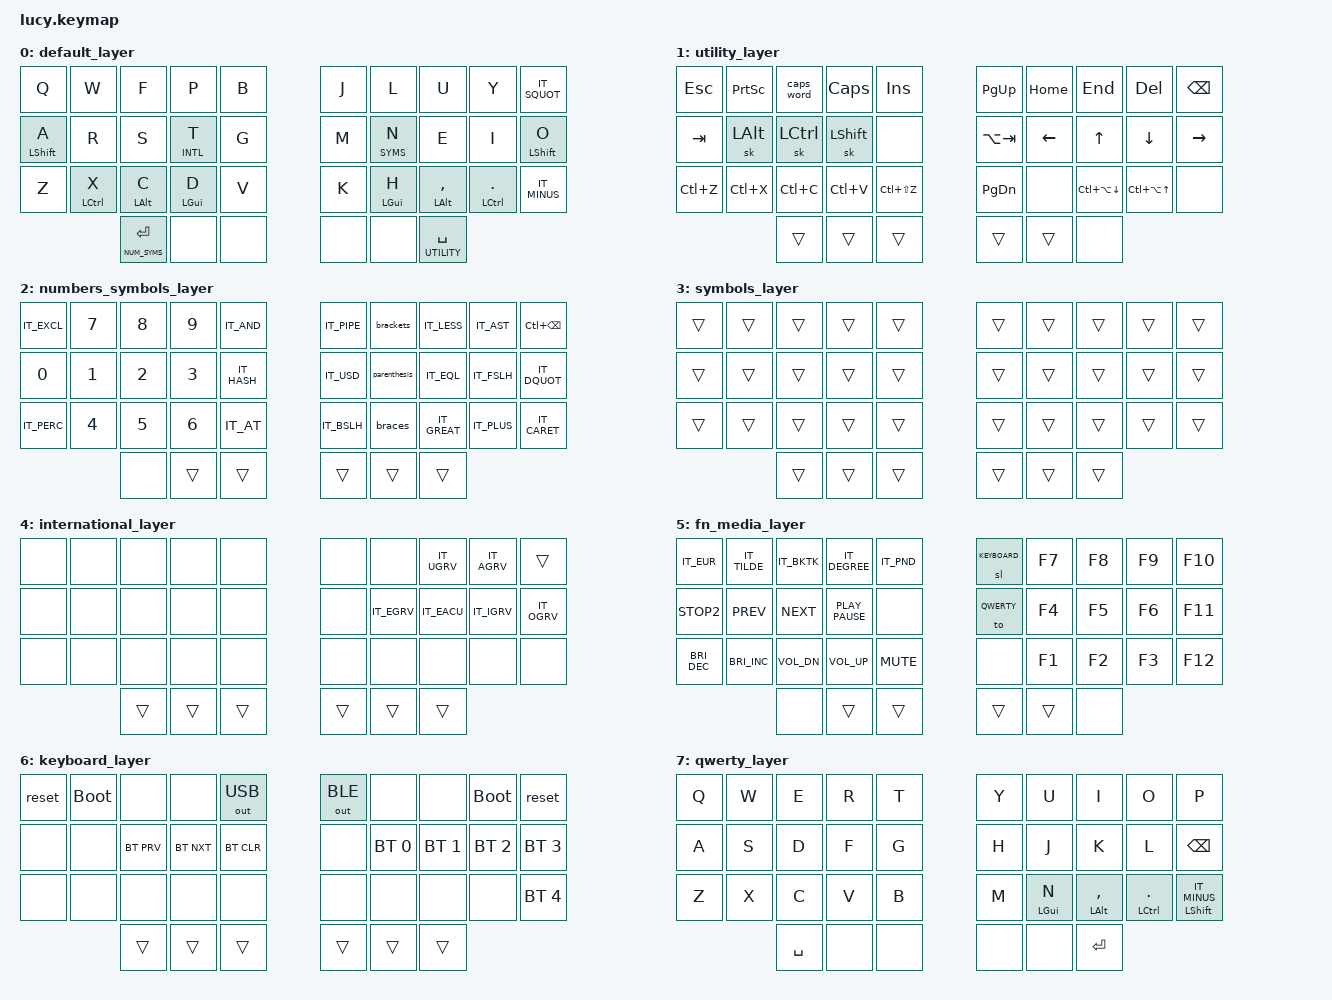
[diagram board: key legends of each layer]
/*
 * Copyright (c) 2020 The ZMK Contributors
 *
 * SPDX-License-Identifier: MIT
 */

#include "./boards/shields/lucy/italian.keycodes"

#include <behaviors.dtsi>
#include <dt-bindings/zmk/keys.h>
#include <dt-bindings/zmk/outputs.h>
#include <dt-bindings/zmk/bt.h>

#define DEFAULT                 0

#define UTILITY                 1

#define NUM_SYMS                2

#define SYMS                    3

#define INTL                    4

#define FN_MEDIA                5

#define KEYBOARD                6

#define QWERTY                  7

&mt {
    //tapping-term-ms = <300>;
    //quick_tap_ms = <0>;
    //flavor = "tap-preferred";
    //retro-tap;
};

// configure the sticky layer behavior
&sl {
    release-after-ms = <3000>;
};


/ {

    macros {

        // PARENTHESIS
        parenthesis: parenthesis {
            label = "parenthesis";
            compatible = "zmk,behavior-macro";
            #binding-cells = <0>;
            wait-ms = <15>;
            tap-ms = <20>;
            bindings
                   = <
                   &kp IT_LPAR &kp IT_RPAR
                   >
                   ;
        };

        brackets: brackets {
            label = "brackets";
            compatible = "zmk,behavior-macro";
            #binding-cells = <0>;
            wait-ms = <15>;
            tap-ms = <20>;
            bindings
                   = <
                   &kp IT_LBKT &kp IT_RBKT
                   >
                   ;
        };

        braces: braces {
            label = "braces";
            compatible = "zmk,behavior-macro";
            #binding-cells = <0>;
            wait-ms = <15>;
            tap-ms = <20>;
            bindings
                   = <
                   &kp IT_LBRC &kp IT_RBRC
                   >
                   ;
        };
    };

    combos {
        compatible = "zmk,combos";

// ------------
// LAYERS COMBOS

        // Activate the KEYBOARD layer for only one key press
/*        combo_goto_keyboard {
            timeout-ms = <75>;
            layers= <FN_MEDIA>;
            key-positions = <0 9>;
            bindings = <&sl KEYBOARD>;
        };
*/
        // Get back to default layer by pressing both thumb keys
        combo_escape_qwerty {
            timeout-ms = <50>;
            layers= <QWERTY>;
            key-positions = <30 35>;
            bindings = <&to DEFAULT>;
        };

        combo_emergency_back_to_default {
            timeout-ms = <50>;
            key-positions = <10 19 20 29>;
            bindings = <&to DEFAULT>;
        };

//--------------
// MAIN COMBOS

        combo_backspace {
            timeout-ms = <50>;
            key-positions = <8 9>;
            bindings = <&kp BKSP>;
            layers = <DEFAULT NUM_SYMS>;
        };

        combo_esc {
            timeout-ms = <100>;
            key-positions = <0 1>;
            bindings = <&kp ESC>;
            layers = <DEFAULT>;
        };

// ------------
// EXPERIMENTAL COMBOS
/*
        combo_parentheses {
            timeout-ms = <25>;
            key-positions = <16 17>;
            bindings = <&parenthesis>;
            layers = <NUM_SYMS>;
        };
*/

   };

    conditional_layers {
        compatible = "zmk,conditional-layers";
        tri_layer {
            if-layers = <UTILITY NUM_SYMS>;
            then-layer = <FN_MEDIA>;
        };
    };

    behaviors {

        lt_left: layer_toggle_left {
            compatible = "zmk,behavior-hold-tap";
            label = "LAYER_TOGGLE_LEFT";
            #binding-cells = <2>;
            tapping-term-ms = <175>;
            quick_tap_ms = <80>;
            flavor = "tap-preferred";
            bindings = <&mo>, <&kp>;
            hold-trigger-key-positions = <5 6 7 8 9 15 16 17 18 19 25 26 27 28 29>;    // <---[[right-hand keys]]
        };

        lt_right: layer_toggle_right {
            compatible = "zmk,behavior-hold-tap";
            label = "LAYER_TOGGLE_RIGHT";
            #binding-cells = <2>;
            tapping-term-ms = <175>;
            quick_tap_ms = <80>;
            flavor = "tap-preferred";
            bindings = <&mo>, <&kp>;
            hold-trigger-key-positions = <0 1 2 3 4 10 11 12 13 14 20 21 22 23 24>;    // <---[[left-hand keys]]

        };

        // Behaviors for mods in the bottom row
        m_left: mods_left {
            compatible = "zmk,behavior-hold-tap";
            label = "MODS_LEFT";
            #binding-cells = <2>;
            //flavor = "tap-unless-interrupted";
            flavor = "tap-preferred";
            tapping-term-ms = <175>;
            quick-tap-ms = <80>;        // 125
            bindings = <&kp>, <&kp>;
            hold-trigger-key-positions = <5 6 7 8 9 15 16 17 18 19 25 26 27 28 29>;    // <---[[right-hand keys]]
        };

        m_right: mods_right {
            compatible = "zmk,behavior-hold-tap";
            label = "MODS_RIGHT";
            #binding-cells = <2>;
            //flavor = "tap-unless-interrupted";
            flavor = "tap-preferred";
            tapping-term-ms = <175>;
            quick-tap-ms = <80>;        // 125
            bindings = <&kp>, <&kp>;
            hold-trigger-key-positions = <0 1 2 3 4 10 11 12 13 14 20 21 22 23 24>;    // <---[[left-hand keys]]
       };

    // Layer on left thumb is for quick access to symbols used while typing so I need a shorter window for triggering
    // the hold behavior. This is possible as RETURN is not used in the middle of something. Balanced behavior is perfect here
    qlt: quick_layer_toggle {
            compatible = "zmk,behavior-hold-tap";
            label = "LEFT_LAYER_TOGGLE";
            #binding-cells = <2>;
            tapping-term-ms = <125>;
            quick-tap-ms = <0>;
            flavor = "balanced";
            bindings = <&mo>, <&kp>;
       };
    };

// RIGHT NOW IT IS MEANT TO BE USED WITH THE ITALIAN QWERTY LAYOUT

        keymap {
                compatible = "zmk,keymap";

//  0 - DEFAULT
       		default_layer {
		bindings = <
		&kp Q &kp W &kp F &kp P &kp B                                       &kp J &kp L  &kp U    &kp Y   &kp IT_SQUOT
		&m_left LSHFT A &kp R &kp S &lt_left INTL T &kp G 			        &kp M &lt_right SYMS N &kp E &kp I &m_right LSHFT O
		&kp Z &m_left LCTRL X &m_left LALT C &m_left LGUI D &kp V		    &kp K &m_right LGUI H  &m_right LALT CMMA &m_right LCTRL DOT &kp IT_MINUS
          	                        &qlt NUM_SYMS RET &none &none  		    &none &none &lt UTILITY SPC
		>;
		};

// 1 - UTILITY LAYER
		    utility_layer {
		bindings = <
		&kp ESC &kp PRINTSCREEN &caps_word &kp CAPS &kp INSERT          &kp PAGE_UP &kp HOME &kp END &kp DEL &kp BKSP
		&kp TAB &sk LALT &sk LCTRL &sk LSHIFT &none                     &kp LA(TAB) &kp LEFT &kp UP &kp DOWN &kp RIGHT
		&kp LC(Z) &kp LC(X) &kp LC(C) &kp LC(V) &kp LC(LS(Z))           &kp PAGE_DOWN &none &kp LC(LA(DOWN)) &kp LC(LA(UP)) &none
					                     &trans &trans &trans           &trans &trans &none
		>;
		};

// 2 - NUMBERS AND SYMBOLS LAYER
            numbers_symbols_layer {
		bindings = <
		&kp IT_EXCL &kp N7 &kp N8 &kp N9  &kp IT_AND          &kp IT_PIPE &brackets &kp IT_LESS &kp IT_AST &kp LC(BKSP)
		&kp N0 &kp N1 &kp N2 &kp N3       &kp IT_HASH         &kp IT_USD &parenthesis &kp IT_EQL &kp IT_FSLH &kp IT_DQUOT
		&kp IT_PERC &kp N4 &kp N5 &kp N6  &kp IT_AT           &kp IT_BSLH &braces &kp IT_GREAT &kp IT_PLUS &kp IT_CARET
					              &none &trans &trans         &trans &trans &trans
		>;
		};


// 3 - SYMBOLS LAYER
            symbols_layer {
		bindings = <
		&trans &trans &trans &trans &trans                                 &trans &trans &trans &trans &trans
		&trans &trans &trans &trans &trans                                 &trans &trans &trans &trans &trans
		&trans &trans &trans &trans &trans                                 &trans &trans &trans &trans &trans
			        &trans &trans &trans                              &trans &trans &trans
		>;
		};

// 4 - INTERNATIONAL LAYER
            international_layer {
		bindings = <
		&none &none &none &none &none           &none &none &kp IT_UGRV &kp IT_AGRV &trans
		&none &none &none &none &none           &none &kp IT_EGRV &kp IT_EACU &kp IT_IGRV &kp IT_OGRV
		&none &none &none &none &none           &none &none &none &none &none
				 &trans &trans &trans           &trans &trans &trans
		>;
		};

// 5 - FUNCTIONS AND MEDIA KEYS
		    fn_media_layer {
		bindings = <
		&kp IT_EUR &kp IT_TILDE &kp IT_BKTK &kp IT_DEGREE &kp IT_PND             &sl KEYBOARD &kp F7 &kp F8 &kp F9 &kp F10
        &kp K_STOP2 &kp K_PREV &kp K_NEXT &kp K_PLAY_PAUSE &none                 &to QWERTY &kp F4 &kp F5 &kp F6 &kp F11
        &kp C_BRI_DEC &kp C_BRI_INC &kp K_VOL_DN &kp K_VOL_UP &kp K_MUTE         &none &kp F1 &kp F2 &kp F3 &kp F12
                                                     &none &trans &trans         &trans &trans &none
		>;
		};

// 6 - KEYBOARD LAYER
		    keyboard_layer {
		bindings = <
		&reset  &bootloader &none &none &out OUT_USB 			        &out OUT_BLE &none   &none   &bootloader  &reset
		&none &none &bt BT_PRV &bt BT_NXT &bt BT_CLR  			        &none &bt BT_SEL 0 &bt BT_SEL 1 &bt BT_SEL 2 &bt BT_SEL 3
		&none &none &none &none &none 				                    &none &none &none &none &bt BT_SEL 4
				            	&trans &trans &trans  					&trans &trans &trans
		>;
		};

//  QWERTY, mainly for gaming or letting others try the keyboard
       		qwerty_layer {
		bindings = <
		&kp Q &kp W &kp E &kp R  &kp T 						&kp Y &kp U  &kp I &kp O &kp P
		&kp A &kp S &kp D &kp F &kp G 			        	&kp H &kp J &kp K &kp L &kp BKSP
		&kp Z &kp X &kp C &kp V &kp B	                    &kp M &m_right LGUI N &m_right LALT CMMA &m_right LCTRL DOT &mt LSHFT IT_MINUS
          				&kp SPC &none &none   		        &none &none &kp RET
		>;
		};

	};
};
